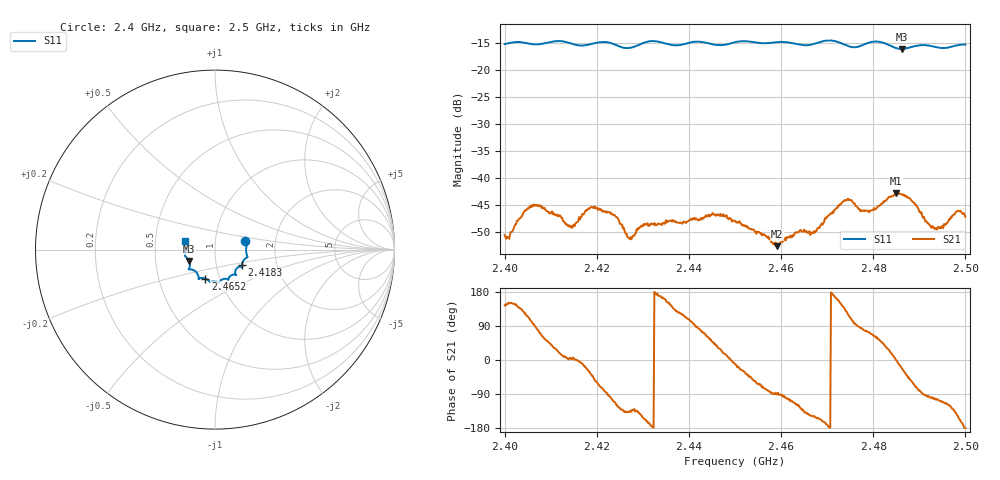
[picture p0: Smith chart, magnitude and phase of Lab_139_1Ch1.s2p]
# Hz S RI R 50
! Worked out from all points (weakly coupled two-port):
!   601 points, 2.4 GHz to 2.5 GHz, reference 50 ohm
!   highest |S21| = -42.84 dB at 2.485 GHz (marker M1); lowest = -52.7 dB at 2.4592 GHz (marker M2)
!   lowest |S11| = -16.1 dB at 2.4862 GHz (marker M3), VSWR 1.37, Z = 37.2 - j4.85 ohm
!   |S11| at or under -10 dB: start of sweep to end of sweep
!   S12 and S22 are empty: the file has one direction only
!   S11 on the Smith chart (normalised r, x): 2.4 GHz: 1.40, +0.13; 2.4183 GHz: 1.33, -0.24; 2.4652 GHz: 0.85, -0.28; 2.5 GHz: 0.71, +0.07
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2.4e9  0.1681 0.0467  -0.00238 0.00173  0 0  0 0
2.406167e9  0.1735 0.00708  -0.000459 0.00547  0 0  0 0
2.414167e9  0.1714 -0.0475  0.00348 0.000346  0 0  0 0
2.416667e9  0.1549 -0.0677  0.00428 -0.000578  0 0  0 0
2.418333e9  0.1498 -0.0863  0.00438 -0.00264  0 0  0 0
2.423833e9  0.1444 -0.096  -0.00159 -0.00423  0 0  0 0
2.427167e9  0.1175 -0.1094  -0.0019 -0.00193  0 0  0 0
2.430167e9  0.1139 -0.1377  -0.00332 -0.00166  0 0  0 0
2.433333e9  0.1173 -0.1413  -0.00371 0.000676  0 0  0 0
2.445167e9  0.0611 -0.1625  0.00321 0.00344  0 0  0 0
2.45e9  0.0255 -0.1797  0.00393 -0.000707  0 0  0 0
2.459167e9  -0.0239 -0.1803  2.27e-05 -0.00232  0 0  0 0
2.465167e9  -0.0543 -0.1611  -0.00238 -0.00206  0 0  0 0
2.466667e9  -0.0709 -0.1576  -0.00257 -0.00165  0 0  0 0
2.474e9  -0.0948 -0.142  -0.00401 0.00477  0 0  0 0
2.478667e9  -0.1391 -0.1101  0.00128 0.00479  0 0  0 0
2.483333e9  -0.1413 -0.097  0.00588 0.00306  0 0  0 0
2.485e9  -0.1398 -0.0777  0.00721 -0.000109  0 0  0 0
2.486167e9  -0.1435 -0.0636  0.00654 -0.00255  0 0  0 0
2.493e9  -0.1645 -0.02  -0.000633 -0.00345  0 0  0 0
2.498333e9  -0.1659 0.0382  -0.00417 -0.00266  0 0  0 0
2.5e9  -0.1662 0.0475  -0.00435 -1.99e-05  0 0  0 0
